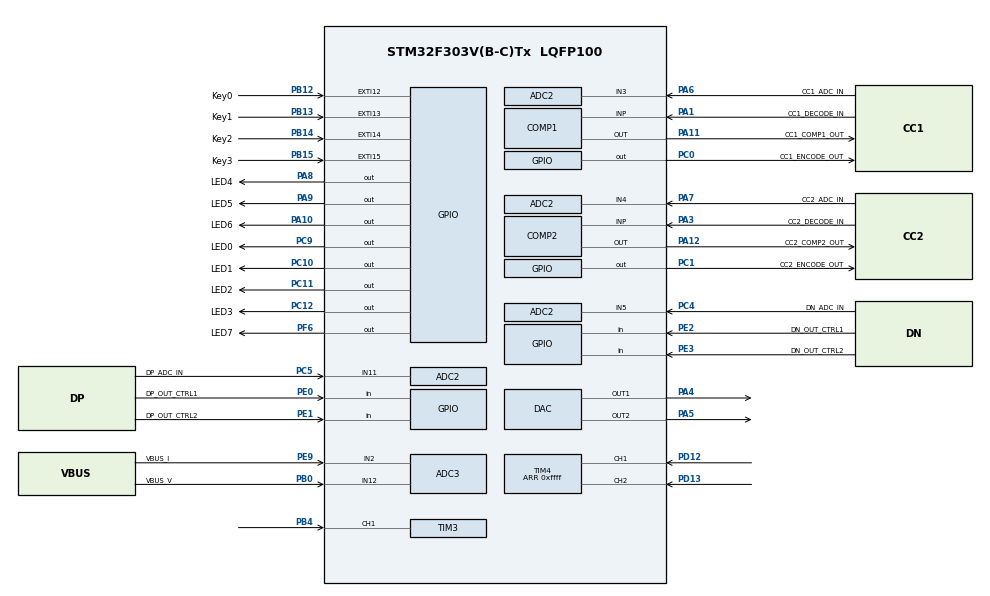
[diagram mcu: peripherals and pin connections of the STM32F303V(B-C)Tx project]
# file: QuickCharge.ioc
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ADC2.Channel-3\#ChannelRegularConversion=ADC_CHANNEL_3
ADC2.ContinuousConvMode=ENABLE
ADC2.DiscontinuousConvMode=DISABLE
ADC2.EnableInjectedConversion=DISABLE
ADC2.EnableRegularConversion=ENABLE
ADC2.NbrOfConversionFlag=1
ADC2.Offset-3\#ChannelRegularConversion=0
ADC2.OffsetNumber-3\#ChannelRegularConversion=ADC_OFFSET_NONE
ADC2.Rank-3\#ChannelRegularConversion=1
ADC2.SamplingTime-3\#ChannelRegularConversion=ADC_SAMPLETIME_1CYCLE_5
ADC2.SamplingTimeOPAMP-3\#ChannelRegularConversion=ADC_SAMPLETIME_61CYCLES_5
ADC3.Channel-0\#ChannelRegularConversion=ADC_CHANNEL_2
ADC3.ContinuousConvMode=ENABLE
ADC3.EnableInjectedConversion=DISABLE
ADC3.NbrOfConversion=1
ADC3.NbrOfConversionFlag=1
ADC3.Offset-0\#ChannelRegularConversion=0
ADC3.OffsetNumber-0\#ChannelRegularConversion=ADC_OFFSET_NONE
ADC3.Rank-0\#ChannelRegularConversion=1
ADC3.SamplingTime-0\#ChannelRegularConversion=ADC_SAMPLETIME_1CYCLE_5
ADC3.master=1
COMP1.InvertingInput=COMP_INVERTINGINPUT_DAC1_CH1
COMP1.Output=COMP_OUTPUT_TIM3IC1
COMP2.InvertingInput=COMP_INVERTINGINPUT_DAC1_CH1
CRC.DefaultInitValueUse=DEFAULT_INIT_VALUE_DISABLE
CRC.DefaultPolynomialUse=DEFAULT_POLYNOMIAL_DISABLE
CRC.InitValue=0xFFFFFFFF
CRC.InputDataInversionMode=CRC_INPUTDATA_INVERSION_BYTE
CRC.OutputDataInversionMode=CRC_OUTPUTDATA_INVERSION_ENABLE
Mcu.Family=STM32F3
Mcu.Name=STM32F303V(B-C)Tx
Mcu.Package=LQFP100
NVIC.PriorityGroup=NVIC_PRIORITYGROUP_0
NVIC.TIM3_IRQn=true\:0\:0\:false\:false\:true\:true\:true
NVIC.TIM4_IRQn=true\:0\:0\:false\:false\:true\:true\:true
PA1.GPIO_Label=CC1_DECODE_IN
PA1.Mode=INP
PA1.Signal=COMP1_INP
PA10.GPIO_Label=LED6
PA10.Signal=GPIO_Output
PA11.GPIO_Label=CC1_COMP1_OUT
PA11.Mode=ExternalOutput
PA11.Signal=COMP1_OUT
PA12.GPIO_Label=CC2_COMP2_OUT
PA12.Mode=ExternalOutput
PA12.Signal=COMP2_OUT
PA13.GPIO_Label=SWDIO
PA13.Mode=Trace_Asynchronous_SW
PA13.Signal=SYS_JTMS-SWDIO
PA14.GPIO_Label=SWCLK
PA14.Mode=Trace_Asynchronous_SW
PA14.Signal=SYS_JTCK-SWCLK
PA3.GPIO_Label=CC2_DECODE_IN
PA3.Mode=INP
PA3.Signal=COMP2_INP
PA4.Signal=COMP_DAC1_group
PA5.Signal=COMP_DAC2_group
PA6.GPIO_Label=CC1_ADC_IN
PA6.Mode=IN3-Single-Ended
PA6.Signal=ADC2_IN3
PA7.GPIO_Label=CC2_ADC_IN
PA7.Mode=IN4-Single-Ended
PA7.Signal=ADC2_IN4
PA8.GPIO_Label=LED4
PA8.Signal=GPIO_Output
PA9.GPIO_Label=LED5
PA9.Signal=GPIO_Output
PB0.GPIO_Label=VBUS_V
PB0.Mode=IN12-Single-Ended
PB0.Signal=ADC3_IN12
PB12.GPIO_Label=Key0
PB12.GPIO_ModeDefaultEXTI=GPIO_MODE_IT_FALLING
PB12.Signal=GPXTI12
PB13.GPIO_Label=Key1
PB13.GPIO_ModeDefaultEXTI=GPIO_MODE_IT_FALLING
PB13.Signal=GPXTI13
PB14.GPIO_Label=Key2
PB14.GPIO_ModeDefaultEXTI=GPIO_MODE_IT_FALLING
PB14.Signal=GPXTI14
PB15.GPIO_Label=Key3
PB15.GPIO_ModeDefaultEXTI=GPIO_MODE_IT_FALLING
PB15.Signal=GPXTI15
PB3.GPIO_Label=SWO
PB3.Mode=Trace_Asynchronous_SW
PB3.Signal=SYS_JTDO-TRACESWO
PB4.GPIO_PuPd=GPIO_NOPULL
PB4.Signal=S_TIM3_CH1
PC0.GPIO_Label=CC1_ENCODE_OUT
PC0.Signal=GPIO_Output
PC1.GPIO_Label=CC2_ENCODE_OUT
PC1.Signal=GPIO_Output
PC10.GPIO_Label=LED1
PC10.Signal=GPIO_Output
PC11.GPIO_Label=LED2
PC11.Signal=GPIO_Output
PC12.GPIO_Label=LED3
PC12.Signal=GPIO_Output
PC4.GPIO_Label=DN_ADC_IN
PC4.Mode=IN5-Single-Ended
PC4.Signal=ADC2_IN5
PC5.GPIO_Label=DP_ADC_IN
PC5.Mode=IN11-Single-Ended
PC5.Signal=ADC2_IN11
PC9.GPIO_Label=LED0
PC9.Signal=GPIO_Output
PD12.Signal=S_TIM4_CH1
PD13.Signal=S_TIM4_CH2
PE0.GPIO_Label=DP_OUT_CTRL1
PE0.Signal=GPIO_Input
PE1.GPIO_Label=DP_OUT_CTRL2
PE1.Signal=GPIO_Input
PE2.GPIO_Label=DN_OUT_CTRL1
PE2.Signal=GPIO_Input
PE3.GPIO_Label=DN_OUT_CTRL2
PE3.Signal=GPIO_Input
PE9.GPIO_Label=VBUS_I
PE9.Mode=IN2-Single-Ended
PE9.Signal=ADC3_IN2
PF0-OSC_IN.Mode=HSE-External-Oscillator
PF0-OSC_IN.Signal=RCC_OSC_IN
PF1-OSC_OUT.Mode=HSE-External-Oscillator
PF1-OSC_OUT.Signal=RCC_OSC_OUT
PF6.GPIO_Label=LED7
PF6.Signal=GPIO_Output
ProjectManager.HeapSize=0x200
ProjectManager.StackSize=0x400
ProjectManager.TargetToolchain=MDK-ARM V5
RCC.AHBFreq_Value=72000000
RCC.APB1CLKDivider=RCC_HCLK_DIV2
RCC.APB1Freq_Value=36000000
RCC.APB1TimFreq_Value=72000000
RCC.APB2Freq_Value=72000000
RCC.APB2TimFreq_Value=72000000
RCC.CortexFreq_Value=72000000
RCC.HCLKFreq_Value=72000000
RCC.HSE_VALUE=8000000
RCC.HSI_VALUE=8000000
RCC.LSE_VALUE=32768
RCC.PLLMUL=RCC_PLL_MUL9
RCC.PLLSourceVirtual=RCC_PLLSOURCE_HSE
RCC.SYSCLKFreq_VALUE=72000000
RCC.SYSCLKSourceVirtual=RCC_SYSCLKSOURCE_PLLCLK
RCC.USBFreq_Value=72000000
SH.COMP_DAC1_group.0=DAC_OUT1,DAC_OUT1
SH.COMP_DAC2_group.0=DAC_OUT2,Enable_DAC_OUT2
SH.S_TIM3_CH1.0=TIM3_CH1,Input_Capture1_from_TI1
SH.S_TIM4_CH1.0=TIM4_CH1,Input_Capture1_from_TI1
SH.S_TIM4_CH2.0=TIM4_CH2,Input_Capture2_from_TI2
TIM3.AutoReloadPreload=TIM_AUTORELOAD_PRELOAD_ENABLE
TIM3.Channel-Input_Capture1_from_TI1=TIM_CHANNEL_1
TIM3.Period=0xffff
TIM4.AutoReloadPreload=TIM_AUTORELOAD_PRELOAD_ENABLE
TIM4.Channel-Input_Capture1_from_TI1=TIM_CHANNEL_1
TIM4.Channel-Input_Capture2_from_TI2=TIM_CHANNEL_2
TIM4.Period=0xffff
VP_COMP1_VS_DAC1OUT1.Mode=INM_DACOUT1
VP_COMP2_VS_DAC1OUT1.Mode=INM_DACOUT1
VP_CRC_VS_CRC.Mode=CRC_Activate
VP_TIM3_VS_ClockSourceINT.Mode=Internal
VP_TIM4_VS_ClockSourceINT.Mode=Internal
board=STM32F3DISCOVERY

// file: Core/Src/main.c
/* USER CODE BEGIN Header */
/**
  ******************************************************************************
  * @file           : main.c
  * @brief          : Main program body
  ******************************************************************************
  * @attention
  *
  * Copyright (c) 2022 STMicroelectronics.
  * All rights reserved.
  *
  * This software is licensed under terms that can be found in the LICENSE file
  * in the root directory of this software component.
  * If no LICENSE file comes with this software, it is provided AS-IS.
  *
  ******************************************************************************
  */
/* USER CODE END Header */
#include "main.h"

/* USER CODE BEGIN Includes */
#include "usbpd_sm_setting.h"

/* USER CODE END Includes */

TIM_HandleTypeDef htim4;

void SystemClock_Config(void);
static void MX_GPIO_Init(void);
static void MX_COMP1_Init(void);
static void MX_DAC_Init(void);
static void MX_ADC2_Init(void);
static void MX_ADC3_Init(void);
static void MX_COMP2_Init(void);
static void MX_TIM3_Init(void);
static void MX_CRC_Init(void);
static void MX_TIM4_Init(void);

/* USER CODE BEGIN 0 */
#define ITM_Port8(n)    (*((volatile unsigned char *)(0xE0000000+4*n)))
#define ITM_Port16(n)   (*((volatile unsigned short*)(0xE0000000+4*n)))
#define ITM_Port32(n)   (*((volatile unsigned long *)(0xE0000000+4*n)))

#define DEMCR           (*((volatile unsigned long *)(0xE000EDFC)))
#define TRCENA          0x01000000

struct __FILE { int handle; /* Add whatever needed */ };
FILE __stdout;
FILE __stdin;

int fputc(int ch, FILE *f) {
  if (DEMCR & TRCENA) {
    while (ITM_Port32(0) == 0);
    ITM_Port8(0) = ch;
  }
  return(ch);
}

/* global parameteres */
bool  gNewMsgFlag;
uint8_t  gBit[500];
uint32_t gBitNum;
uint8_t  gData5b[5];

USBPD_PHY_Msg_TypeDef gPhyRcvMsg;
USBPD_PHY_Msg_TypeDef gPhyTransMsg;
USBPD_Msg_TypeDef gPrlRcvMsg;
USBPD_Msg_TypeDef gPrlTransMsg;
uint32_t gSRCFixedPDONum;
USBPD_PDO_TypeDef gSRCFixedPDOList[7];
USBPD_PDO_TypeDef gSNKFixedPDOList[SNK_FIXED_PDO_NUM] = {0x19096, 0x1003C096};
USBPD_SNKRDO_TypeDef gRdo;
uint8_t  gTransMsgID;
uint8_t  gRcvMsgID;
uint8_t  gHardRstCnt;
uint8_t  gSoftRstCnt;
bool     gExplicitFlag;
bool     gWaitFlag;
bool     gNewReqFlag;
bool     gPDEn;
bool     gQcAdapter;

uint32_t voltage, allowablepower;
uint32_t srcFixPDOValue[7] = {0x0A01912C, 0x0002D12C, 0x0003C12C, 0x0004B12C, 0x00064145};
uint32_t sinkFixRDOValue[7] = {0x1305B12C};
USBPD_SRCFixedSupplyPDO_TypeDef srcFixPDO[7];
uint32_t gVbus;
USBPD_RcvMsgType_TypeDef gRcvMsgType;

StateId gPreviousState;
StateId gCurrentState;
static bool GetEvent(StateId currentState, EventInfo* pEventInfo);

static bool GetEvent(StateId currentState, EventInfo* pEventInfo)
{
	bool ret = false;

	if((*(SM_Table[currentState].hStateAction))(pEventInfo))
	{
	 	ret = true;
	}
	return ret;
}

uint32_t adctest;
/* USER CODE END 0 */

int main(void)
{
  /* USER CODE BEGIN 1 */
	EventInfo eventInfo;
	StateId nextState;
	StateTransit*	pStateTransit;
	uint8_t i;

	gPDEn = true;
  /* USER CODE END 1 */

  /* MCU Configuration--------------------------------------------------------*/

  /* Reset of all peripherals, Initializes the Flash interface and the Systick. */
  HAL_Init();

  /* Configure the system clock */
  SystemClock_Config();

  /* Initialize all configured peripherals */
  MX_GPIO_Init();
  MX_COMP1_Init();
  MX_DAC_Init();
  MX_ADC2_Init();
  MX_ADC3_Init();
  MX_COMP2_Init();
  MX_TIM3_Init();
  MX_CRC_Init();
  MX_TIM4_Init();
  /* USER CODE BEGIN 2 */
	LL_GPIO_SetOutputPin(LED0_GPIO_Port, LED0_Pin);
	LL_GPIO_SetOutputPin(CC1_ENCODE_OUT_GPIO_Port, CC1_ENCODE_OUT_Pin);

//	HAL_DAC_SetValue(&hdac, DAC_CHANNEL_1, DAC_ALIGN_12B_R, 1024);
//	HAL_DAC_Start(&hdac, DAC_CHANNEL_1);
//	HAL_COMP_Start(&hcomp1);
	HAL_Delay(1);
//	__HAL_TIM_SET_CAPTUREPOLARITY(&htim4, TIM_CHANNEL_1, TIM_INPUTCHANNELPOLARITY_BOTHEDGE);
//	HAL_TIM_IC_Start(&htim4, TIM_CHANNEL_1);

/*********************TEST BEGIN***********************************************/
//	gPrlRcvMsg.SOPType                              = USBPD_SOPTYPE_SOP;
//	gPrlRcvMsg.MsgHeader.MsgHeaderStruct.MsgType    = USBPD_DATAMSG_SRC_CAPABILITIES;
//	gPrlRcvMsg.MsgHeader.MsgHeaderStruct.SpecRev    = USBPD_SPECIFICATION_REV2;
//	gPrlRcvMsg.MsgHeader.MsgHeaderStruct.MsgId      = 1;
//	gPrlRcvMsg.MsgHeader.MsgHeaderStruct.DataObjNum = 5;
//  gPrlRcvMsg.MsgHeader.MsgHeaderStruct.Ext        = 0;
//	gPrlRcvMsg.DataObjectValue[0]   = 0x0A01912C;
//  gPrlRcvMsg.DataObjectValue[1]   = 0x0002D12C;
//	gPrlRcvMsg.DataObjectValue[2]   = 0x0003C12C;
//  gPrlRcvMsg.DataObjectValue[3]   = 0x0004B12C;
//	gPrlRcvMsg.DataObjectValue[4]   = 0x00064145;
//	gSRCFixedPDONum = USBPD_GetSRCFixedPDOList(&gPrlRcvMsg);
//
//	pdoIndex = DPM_FindVoltageIndex(&reqDetails);
//  DPM_SNK_BuildRDOfromSelectedFixedPDO(pdoIndex, &reqDetails, &gRdo);
//
//	USBPD_Send_HardReset();
//	USBPD_Send_ControlMessage(USBPD_CONTROLMSG_GOODCRC);
//  USBPD_Send_ControlMessage(USBPD_CONTROLMSG_SOFT_RESET);
//	USBPD_Send_ControlMessage(USBPD_CONTROLMSG_GET_SRC_CAP);
//	USBPD_Send_Request(gRdo.d32);

  adctest = GetAverageValue(AVERAGE_NUM, Measurement_DN_Voltage);
/*********************TEST END***********************************************/
  /* USER CODE END 2 */

  /* Infinite loop */
  /* USER CODE BEGIN WHILE */

/********************* QC ***********************************************/
	ResetQuickChargeFlag();
	QuickChargeDetection();

  gPreviousState = StateStartup;
	gCurrentState = StateStartup;
	(*SM_Table[gCurrentState].hStateEntry)(eventInfo.eventId, eventInfo.param1);
//	USBPD_Send_HardReset();
	while (1)
  {
		if (gPDEn)
		{
			if(GetEvent(gCurrentState, &eventInfo))
			{
				if((gCurrentState < StateCount)&&(eventInfo.eventId < EventCount))
				{
					pStateTransit = SM_Table[gCurrentState].pStateTransit; //Get current state's transaction table 'StateTrans'
					i = 0;
					while(pStateTransit[i].eventId != EvtNull)
					{
						if(pStateTransit[i].eventId == eventInfo.eventId)//search for the state transition for the current event
						{
							nextState = pStateTransit[i].nextState;

//							if(nextState != gCurrentState) //if the state changes, call exit function of current state, and entry function of next state
							{
								(*SM_Table[gCurrentState].hStateExit)();
								(*SM_Table[nextState].hStateEntry)(eventInfo.eventId, eventInfo.param1);
								gPreviousState = gCurrentState;
								gCurrentState = nextState;
							}
							break;
						}
						i++;
					}
				}
			}
		}
	}

//  uint32_t msgType;
//	uint32_t pdoIndex;
//	USBPD_DPM_SNKPowerRequestDetails_TypeDef reqDetails;

//  while (1)
//  {
    /* USER CODE END WHILE */

    /* USER CODE BEGIN 3 */
//		if(gNewMsgFlag)
//		{
//			HAL_GPIO_WritePin(TEST_LED1_GPIO_Port, TEST_LED1_Pin, GPIO_PIN_SET);
//			if (USBPD_OK == USBPD_PHY_DecodeMessage(&gPhyRcvMsg))
//			{
//				//1. �� MSG ������Э���
//				USBPD_GetMessage(&gPhyRcvMsg, &gPrlRcvMsg);
//				//2. ���� MSG ���ͻظ���ͬ������
//        msgType = USBPD_GetReceivedMsgType(&gPrlRcvMsg);
////        if ((msgType != USBPD_MSG_GOODCRC))
////				{
////			  	USBPD_Send_ControlMessage(USBPD_CONTROLMSG_GOODCRC);
////				}
//        switch (msgType)
//				{
//					case USBPD_MSG_HARD_RST:
//						break;
//					case USBPD_MSG_SOFT_RST:
//						break;
//          case USBPD_MSG_GET_SINK_CAP:
//						break;
//          case USBPD_MSG_ACCEPT:
//						break;
//          case USBPD_MSG_PS_READY:
//						break;
//          case USBPD_MSG_SRC_CAP:
//						pdoIndex = DPM_FindVoltageIndex(&reqDetails);
//						DPM_SNK_BuildRDOfromSelectedFixedPDO(pdoIndex, &reqDetails, &gRdo);
//						USBPD_Send_Request(gRdo.d32);
//					  break;
//					default:
//						break;
//				}
//			}
//			gNewMsgFlag = false;
//			HAL_GPIO_WritePin(TEST_LED1_GPIO_Port, TEST_LED1_Pin, GPIO_PIN_RESET);
//			__HAL_TIM_CLEAR_IT(&htim3, TIM_IT_CC1);
//	    TIM3->DIER |= TIM_IT_CC1;
//		}
//	}
  /* USER CODE END 3 */
}

void SystemClock_Config(void)
{
  LL_FLASH_SetLatency(LL_FLASH_LATENCY_2);
  while(LL_FLASH_GetLatency()!= LL_FLASH_LATENCY_2)
  {
  }
  LL_RCC_HSE_Enable();

   /* Wait till HSE is ready */
  while(LL_RCC_HSE_IsReady() != 1)
  {

  }
  LL_RCC_PLL_ConfigDomain_SYS(LL_RCC_PLLSOURCE_HSE_DIV_1, LL_RCC_PLL_MUL_9);
  LL_RCC_PLL_Enable();

   /* Wait till PLL is ready */
  while(LL_RCC_PLL_IsReady() != 1)
  {

  }
  LL_RCC_SetAHBPrescaler(LL_RCC_SYSCLK_DIV_1);
  LL_RCC_SetAPB1Prescaler(LL_RCC_APB1_DIV_2);
  LL_RCC_SetAPB2Prescaler(LL_RCC_APB2_DIV_1);
  LL_RCC_SetSysClkSource(LL_RCC_SYS_CLKSOURCE_PLL);

   /* Wait till System clock is ready */
  while(LL_RCC_GetSysClkSource() != LL_RCC_SYS_CLKSOURCE_STATUS_PLL)
  {

  }
  LL_SetSystemCoreClock(72000000);

   /* Update the time base */
  if (HAL_InitTick (TICK_INT_PRIORITY) != HAL_OK)
  {
    Error_Handler();
  }
  LL_RCC_SetADCClockSource(LL_RCC_ADC12_CLKSRC_PLL_DIV_1);
  LL_RCC_SetADCClockSource(LL_RCC_ADC34_CLKSRC_PLL_DIV_1);
}

static void MX_ADC2_Init(void)
{

  LL_ADC_InitTypeDef ADC_InitStruct = {0};

  LL_ADC_REG_InitTypeDef ADC_REG_InitStruct = {0};

  LL_GPIO_InitTypeDef GPIO_InitStruct = {0};

  /* Peripheral clock enable */
  LL_AHB1_GRP1_EnableClock(LL_AHB1_GRP1_PERIPH_ADC12);

  LL_AHB1_GRP1_EnableClock(LL_AHB1_GRP1_PERIPH_GPIOA);
  LL_AHB1_GRP1_EnableClock(LL_AHB1_GRP1_PERIPH_GPIOC);
  /**ADC2 GPIO Configuration
  PA6   ------> ADC2_IN3
  PA7   ------> ADC2_IN4
  PC4   ------> ADC2_IN5
  PC5   ------> ADC2_IN11
  */
  GPIO_InitStruct.Pin = CC1_ADC_IN_Pin|CC2_ADC_IN_Pin;
  GPIO_InitStruct.Mode = LL_GPIO_MODE_ANALOG;
  GPIO_InitStruct.Pull = LL_GPIO_PULL_NO;
  LL_GPIO_Init(GPIOA, &GPIO_InitStruct);

  GPIO_InitStruct.Pin = DN_ADC_IN_Pin|DP_ADC_IN_Pin;
  GPIO_InitStruct.Mode = LL_GPIO_MODE_ANALOG;
  GPIO_InitStruct.Pull = LL_GPIO_PULL_NO;
  LL_GPIO_Init(GPIOC, &GPIO_InitStruct);

  /** Common config
  */
  ADC_InitStruct.Resolution = LL_ADC_RESOLUTION_12B;
  ADC_InitStruct.DataAlignment = LL_ADC_DATA_ALIGN_RIGHT;
  ADC_InitStruct.LowPowerMode = LL_ADC_LP_MODE_NONE;
  LL_ADC_Init(ADC2, &ADC_InitStruct);
  ADC_REG_InitStruct.TriggerSource = LL_ADC_REG_TRIG_SOFTWARE;
  ADC_REG_InitStruct.SequencerLength = LL_ADC_REG_SEQ_SCAN_DISABLE;
  ADC_REG_InitStruct.SequencerDiscont = LL_ADC_REG_SEQ_DISCONT_DISABLE;
  ADC_REG_InitStruct.ContinuousMode = LL_ADC_REG_CONV_CONTINUOUS;
  ADC_REG_InitStruct.DMATransfer = LL_ADC_REG_DMA_TRANSFER_LIMITED;
  ADC_REG_InitStruct.Overrun = LL_ADC_REG_OVR_DATA_OVERWRITTEN;
  LL_ADC_REG_Init(ADC2, &ADC_REG_InitStruct);
  LL_ADC_SetCommonClock(__LL_ADC_COMMON_INSTANCE(ADC2), LL_ADC_CLOCK_ASYNC_DIV1);

  /* Enable ADC internal voltage regulator */
  LL_ADC_EnableInternalRegulator(ADC2);
  /* Delay for ADC internal voltage regulator stabilization. */
  /* Compute number of CPU cycles to wait for, from delay in us. */
  /* Note: Variable divided by 2 to compensate partially */
  /* CPU processing cycles (depends on compilation optimization). */
  /* Note: If system core clock frequency is below 200kHz, wait time */
  /* is only a few CPU processing cycles. */
  uint32_t wait_loop_index;
  wait_loop_index = ((LL_ADC_DELAY_INTERNAL_REGUL_STAB_US * (SystemCoreClock / (100000 * 2))) / 10);
  while(wait_loop_index != 0)
  {
    wait_loop_index--;
  }
  /** Configure Regular Channel
  */
  LL_ADC_REG_SetSequencerRanks(ADC2, LL_ADC_REG_RANK_1, LL_ADC_CHANNEL_3);
  LL_ADC_SetChannelSamplingTime(ADC2, LL_ADC_CHANNEL_3, LL_ADC_SAMPLINGTIME_1CYCLE_5);
  LL_ADC_SetChannelSingleDiff(ADC2, LL_ADC_CHANNEL_3, LL_ADC_SINGLE_ENDED);

}

static void MX_ADC3_Init(void)
{

  LL_ADC_InitTypeDef ADC_InitStruct = {0};
  LL_ADC_REG_InitTypeDef ADC_REG_InitStruct = {0};
  LL_ADC_CommonInitTypeDef ADC_CommonInitStruct = {0};

  LL_GPIO_InitTypeDef GPIO_InitStruct = {0};

  /* Peripheral clock enable */
  LL_AHB1_GRP1_EnableClock(LL_AHB1_GRP1_PERIPH_ADC34);

  LL_AHB1_GRP1_EnableClock(LL_AHB1_GRP1_PERIPH_GPIOB);
  LL_AHB1_GRP1_EnableClock(LL_AHB1_GRP1_PERIPH_GPIOE);
  /**ADC3 GPIO Configuration
  PB0   ------> ADC3_IN12
  PE9   ------> ADC3_IN2
  */
  GPIO_InitStruct.Pin = VBUS_V_Pin;
  GPIO_InitStruct.Mode = LL_GPIO_MODE_ANALOG;
  GPIO_InitStruct.Pull = LL_GPIO_PULL_NO;
  LL_GPIO_Init(VBUS_V_GPIO_Port, &GPIO_InitStruct);

  GPIO_InitStruct.Pin = VBUS_I_Pin;
  GPIO_InitStruct.Mode = LL_GPIO_MODE_ANALOG;
  GPIO_InitStruct.Pull = LL_GPIO_PULL_NO;
  LL_GPIO_Init(VBUS_I_GPIO_Port, &GPIO_InitStruct);

  /** Common config
  */
  ADC_InitStruct.Resolution = LL_ADC_RESOLUTION_12B;
  ADC_InitStruct.DataAlignment = LL_ADC_DATA_ALIGN_RIGHT;
  ADC_InitStruct.LowPowerMode = LL_ADC_LP_MODE_NONE;
  LL_ADC_Init(ADC3, &ADC_InitStruct);
  ADC_REG_InitStruct.TriggerSource = LL_ADC_REG_TRIG_SOFTWARE;
  ADC_REG_InitStruct.SequencerLength = LL_ADC_REG_SEQ_SCAN_DISABLE;
  ADC_REG_InitStruct.SequencerDiscont = LL_ADC_REG_SEQ_DISCONT_DISABLE;
  ADC_REG_InitStruct.ContinuousMode = LL_ADC_REG_CONV_CONTINUOUS;
  ADC_REG_InitStruct.DMATransfer = LL_ADC_REG_DMA_TRANSFER_LIMITED;
  ADC_REG_InitStruct.Overrun = LL_ADC_REG_OVR_DATA_OVERWRITTEN;
  LL_ADC_REG_Init(ADC3, &ADC_REG_InitStruct);
  ADC_CommonInitStruct.CommonClock = LL_ADC_CLOCK_ASYNC_DIV1;
  ADC_CommonInitStruct.Multimode = LL_ADC_MULTI_INDEPENDENT;
  LL_ADC_CommonInit(__LL_ADC_COMMON_INSTANCE(ADC3), &ADC_CommonInitStruct);

  /* Enable ADC internal voltage regulator */
  LL_ADC_EnableInternalRegulator(ADC3);
  /* Delay for ADC internal voltage regulator stabilization. */
  /* Compute number of CPU cycles to wait for, from delay in us. */
  /* Note: Variable divided by 2 to compensate partially */
  /* CPU processing cycles (depends on compilation optimization). */
  /* Note: If system core clock frequency is below 200kHz, wait time */
  /* is only a few CPU processing cycles. */
  uint32_t wait_loop_index;
  wait_loop_index = ((LL_ADC_DELAY_INTERNAL_REGUL_STAB_US * (SystemCoreClock / (100000 * 2))) / 10);
  while(wait_loop_index != 0)
  {
    wait_loop_index--;
  }
  /** Configure Regular Channel
  */
  LL_ADC_REG_SetSequencerRanks(ADC3, LL_ADC_REG_RANK_1, LL_ADC_CHANNEL_2);
  LL_ADC_SetChannelSamplingTime(ADC3, LL_ADC_CHANNEL_2, LL_ADC_SAMPLINGTIME_1CYCLE_5);
  LL_ADC_SetChannelSingleDiff(ADC3, LL_ADC_CHANNEL_2, LL_ADC_SINGLE_ENDED);

}

static void MX_COMP1_Init(void)
{

  LL_COMP_InitTypeDef COMP_InitStruct = {0};

  LL_GPIO_InitTypeDef GPIO_InitStruct = {0};

  LL_AHB1_GRP1_EnableClock(LL_AHB1_GRP1_PERIPH_GPIOA);
  /**COMP1 GPIO Configuration
  PA1   ------> COMP1_INP
  PA11   ------> COMP1_OUT
  */
  GPIO_InitStruct.Pin = CC1_DECODE_IN_Pin;
  GPIO_InitStruct.Mode = LL_GPIO_MODE_ANALOG;
  GPIO_InitStruct.Pull = LL_GPIO_PULL_NO;
  LL_GPIO_Init(CC1_DECODE_IN_GPIO_Port, &GPIO_InitStruct);

  GPIO_InitStruct.Pin = CC1_COMP1_OUT_Pin;
  GPIO_InitStruct.Mode = LL_GPIO_MODE_ALTERNATE;
  GPIO_InitStruct.Speed = LL_GPIO_SPEED_FREQ_LOW;
  GPIO_InitStruct.OutputType = LL_GPIO_OUTPUT_PUSHPULL;
  GPIO_InitStruct.Pull = LL_GPIO_PULL_NO;
  GPIO_InitStruct.Alternate = LL_GPIO_AF_8;
  LL_GPIO_Init(CC1_COMP1_OUT_GPIO_Port, &GPIO_InitStruct);

  COMP_InitStruct.PowerMode = LL_COMP_POWERMODE_HIGHSPEED;
  COMP_InitStruct.InputPlus = LL_COMP_INPUT_PLUS_IO1;
  COMP_InitStruct.InputMinus = LL_COMP_INPUT_MINUS_DAC1_CH1;
  COMP_InitStruct.InputHysteresis = LL_COMP_HYSTERESIS_NONE;
  COMP_InitStruct.OutputSelection = LL_COMP_OUTPUT_TIM3_IC1;
  COMP_InitStruct.OutputPolarity = LL_COMP_OUTPUTPOL_NONINVERTED;
  COMP_InitStruct.OutputBlankingSource = LL_COMP_BLANKINGSRC_NONE;
  LL_COMP_Init(COMP1, &COMP_InitStruct);

}

static void MX_COMP2_Init(void)
{

  LL_COMP_InitTypeDef COMP_InitStruct = {0};

  LL_GPIO_InitTypeDef GPIO_InitStruct = {0};

  LL_AHB1_GRP1_EnableClock(LL_AHB1_GRP1_PERIPH_GPIOA);
  /**COMP2 GPIO Configuration
  PA3   ------> COMP2_INP
  PA12   ------> COMP2_OUT
  */
  GPIO_InitStruct.Pin = CC2_DECODE_IN_Pin;
  GPIO_InitStruct.Mode = LL_GPIO_MODE_ANALOG;
  GPIO_InitStruct.Pull = LL_GPIO_PULL_NO;
  LL_GPIO_Init(CC2_DECODE_IN_GPIO_Port, &GPIO_InitStruct);

  GPIO_InitStruct.Pin = CC2_COMP2_OUT_Pin;
  GPIO_InitStruct.Mode = LL_GPIO_MODE_ALTERNATE;
  GPIO_InitStruct.Speed = LL_GPIO_SPEED_FREQ_LOW;
  GPIO_InitStruct.OutputType = LL_GPIO_OUTPUT_PUSHPULL;
  GPIO_InitStruct.Pull = LL_GPIO_PULL_NO;
  GPIO_InitStruct.Alternate = LL_GPIO_AF_8;
  LL_GPIO_Init(CC2_COMP2_OUT_GPIO_Port, &GPIO_InitStruct);

  COMP_InitStruct.PowerMode = LL_COMP_POWERMODE_HIGHSPEED;
  COMP_InitStruct.InputPlus = LL_COMP_INPUT_PLUS_IO2;
  COMP_InitStruct.InputMinus = LL_COMP_INPUT_MINUS_DAC1_CH1;
  COMP_InitStruct.InputHysteresis = LL_COMP_HYSTERESIS_NONE;
  COMP_InitStruct.OutputSelection = LL_COMP_OUTPUT_NONE;
  COMP_InitStruct.OutputPolarity = LL_COMP_OUTPUTPOL_NONINVERTED;
  COMP_InitStruct.OutputBlankingSource = LL_COMP_BLANKINGSRC_NONE;
  LL_COMP_Init(COMP2, &COMP_InitStruct);
  LL_COMP_SetCommonWindowMode(__LL_COMP_COMMON_INSTANCE(COMP2), LL_COMP_WINDOWMODE_DISABLE);

}

static void MX_CRC_Init(void)
{

  /* Peripheral clock enable */
  LL_AHB1_GRP1_EnableClock(LL_AHB1_GRP1_PERIPH_CRC);

  LL_CRC_SetInputDataReverseMode(CRC, LL_CRC_INDATA_REVERSE_BYTE);
  LL_CRC_SetOutputDataReverseMode(CRC, LL_CRC_OUTDATA_REVERSE_BIT);
  LL_CRC_SetInitialData(CRC, 0xFFFFFFFF);
  LL_CRC_SetPolynomialCoef(CRC, 79764919);
  LL_CRC_SetPolynomialSize(CRC, LL_CRC_POLYLENGTH_32B);

}

static void MX_DAC_Init(void)
{

  LL_DAC_InitTypeDef DAC_InitStruct = {0};

  LL_GPIO_InitTypeDef GPIO_InitStruct = {0};

  /* Peripheral clock enable */
  LL_APB1_GRP1_EnableClock(LL_APB1_GRP1_PERIPH_DAC1);

  LL_AHB1_GRP1_EnableClock(LL_AHB1_GRP1_PERIPH_GPIOA);
  /**DAC GPIO Configuration
  PA4   ------> DAC_OUT1
  PA5   ------> DAC_OUT2
  */
  GPIO_InitStruct.Pin = LL_GPIO_PIN_4|LL_GPIO_PIN_5;
  GPIO_InitStruct.Mode = LL_GPIO_MODE_ANALOG;
  GPIO_InitStruct.Pull = LL_GPIO_PULL_NO;
  LL_GPIO_Init(GPIOA, &GPIO_InitStruct);

  /** DAC channel OUT1 config
  */
  DAC_InitStruct.TriggerSource = LL_DAC_TRIG_SOFTWARE;
  DAC_InitStruct.WaveAutoGeneration = LL_DAC_WAVE_AUTO_GENERATION_NONE;
  DAC_InitStruct.OutputBuffer = LL_DAC_OUTPUT_BUFFER_ENABLE;
  LL_DAC_Init(DAC, LL_DAC_CHANNEL_1, &DAC_InitStruct);
  LL_DAC_DisableTrigger(DAC, LL_DAC_CHANNEL_1);
  /** DAC channel OUT2 config
  */
  LL_DAC_Init(DAC, LL_DAC_CHANNEL_2, &DAC_InitStruct);
  LL_DAC_DisableTrigger(DAC, LL_DAC_CHANNEL_2);

}

static void MX_TIM3_Init(void)
{

  LL_TIM_InitTypeDef TIM_InitStruct = {0};

  LL_GPIO_InitTypeDef GPIO_InitStruct = {0};

  /* Peripheral clock enable */
  LL_APB1_GRP1_EnableClock(LL_APB1_GRP1_PERIPH_TIM3);

  LL_AHB1_GRP1_EnableClock(LL_AHB1_GRP1_PERIPH_GPIOB);
  /**TIM3 GPIO Configuration
  PB4   ------> TIM3_CH1
  */
  GPIO_InitStruct.Pin = LL_GPIO_PIN_4;
  GPIO_InitStruct.Mode = LL_GPIO_MODE_ALTERNATE;
  GPIO_InitStruct.Speed = LL_GPIO_SPEED_FREQ_LOW;
  GPIO_InitStruct.OutputType = LL_GPIO_OUTPUT_PUSHPULL;
  GPIO_InitStruct.Pull = LL_GPIO_PULL_NO;
  GPIO_InitStruct.Alternate = LL_GPIO_AF_2;
  LL_GPIO_Init(GPIOB, &GPIO_InitStruct);

  /* TIM3 interrupt Init */
  NVIC_SetPriority(TIM3_IRQn, NVIC_EncodePriority(NVIC_GetPriorityGrouping(),0, 0));
  NVIC_EnableIRQ(TIM3_IRQn);

  TIM_InitStruct.Prescaler = 0;
  TIM_InitStruct.CounterMode = LL_TIM_COUNTERMODE_UP;
  TIM_InitStruct.Autoreload = 0xffff;
  TIM_InitStruct.ClockDivision = LL_TIM_CLOCKDIVISION_DIV1;
  LL_TIM_Init(TIM3, &TIM_InitStruct);
  LL_TIM_EnableARRPreload(TIM3);
  LL_TIM_SetClockSource(TIM3, LL_TIM_CLOCKSOURCE_INTERNAL);
  LL_TIM_SetTriggerOutput(TIM3, LL_TIM_TRGO_RESET);
  LL_TIM_DisableMasterSlaveMode(TIM3);
  LL_TIM_IC_SetActiveInput(TIM3, LL_TIM_CHANNEL_CH1, LL_TIM_ACTIVEINPUT_DIRECTTI);
  LL_TIM_IC_SetPrescaler(TIM3, LL_TIM_CHANNEL_CH1, LL_TIM_ICPSC_DIV1);
  LL_TIM_IC_SetFilter(TIM3, LL_TIM_CHANNEL_CH1, LL_TIM_IC_FILTER_FDIV1);
  LL_TIM_IC_SetPolarity(TIM3, LL_TIM_CHANNEL_CH1, LL_TIM_IC_POLARITY_RISING);

}

static void MX_TIM4_Init(void)
{

  TIM_ClockConfigTypeDef sClockSourceConfig = {0};
  TIM_MasterConfigTypeDef sMasterConfig = {0};
  TIM_IC_InitTypeDef sConfigIC = {0};

  htim4.Instance = TIM4;
  htim4.Init.Prescaler = 0;
  htim4.Init.CounterMode = TIM_COUNTERMODE_UP;
  htim4.Init.Period = 0xffff;
  htim4.Init.ClockDivision = TIM_CLOCKDIVISION_DIV1;
  htim4.Init.AutoReloadPreload = TIM_AUTORELOAD_PRELOAD_ENABLE;
  if (HAL_TIM_Base_Init(&htim4) != HAL_OK)
  {
    Error_Handler();
  }
  sClockSourceConfig.ClockSource = TIM_CLOCKSOURCE_INTERNAL;
  if (HAL_TIM_ConfigClockSource(&htim4, &sClockSourceConfig) != HAL_OK)
  {
    Error_Handler();
  }
  if (HAL_TIM_IC_Init(&htim4) != HAL_OK)
  {
    Error_Handler();
  }
  sMasterConfig.MasterOutputTrigger = TIM_TRGO_RESET;
  sMasterConfig.MasterSlaveMode = TIM_MASTERSLAVEMODE_DISABLE;
  if (HAL_TIMEx_MasterConfigSynchronization(&htim4, &sMasterConfig) != HAL_OK)
  {
    Error_Handler();
  }
  sConfigIC.ICPolarity = TIM_INPUTCHANNELPOLARITY_RISING;
  sConfigIC.ICSelection = TIM_ICSELECTION_DIRECTTI;
  sConfigIC.ICPrescaler = TIM_ICPSC_DIV1;
  sConfigIC.ICFilter = 0;
  if (HAL_TIM_IC_ConfigChannel(&htim4, &sConfigIC, TIM_CHANNEL_1) != HAL_OK)
  {
    Error_Handler();
  }
  if (HAL_TIM_IC_ConfigChannel(&htim4, &sConfigIC, TIM_CHANNEL_2) != HAL_OK)
  {
    Error_Handler();
  }

}

static void MX_GPIO_Init(void)
{
  LL_EXTI_InitTypeDef EXTI_InitStruct = {0};
  LL_GPIO_InitTypeDef GPIO_InitStruct = {0};

  /* GPIO Ports Clock Enable */
  LL_AHB1_GRP1_EnableClock(LL_AHB1_GRP1_PERIPH_GPIOE);
  LL_AHB1_GRP1_EnableClock(LL_AHB1_GRP1_PERIPH_GPIOF);
  LL_AHB1_GRP1_EnableClock(LL_AHB1_GRP1_PERIPH_GPIOC);
  LL_AHB1_GRP1_EnableClock(LL_AHB1_GRP1_PERIPH_GPIOA);
  LL_AHB1_GRP1_EnableClock(LL_AHB1_GRP1_PERIPH_GPIOB);
  LL_AHB1_GRP1_EnableClock(LL_AHB1_GRP1_PERIPH_GPIOD);

  /**/
  LL_GPIO_ResetOutputPin(GPIOC, CC1_ENCODE_OUT_Pin|CC2_ENCODE_OUT_Pin|LED0_Pin|LED1_Pin
                          |LED2_Pin|LED3_Pin);

  /**/
  LL_GPIO_ResetOutputPin(GPIOA, LED4_Pin|LED5_Pin|LED6_Pin);

  /**/
  LL_GPIO_ResetOutputPin(LED7_GPIO_Port, LED7_Pin);

  /**/
  GPIO_InitStruct.Pin = DN_OUT_CTRL1_Pin|DN_OUT_CTRL2_Pin|DP_OUT_CTRL1_Pin|DP_OUT_CTRL2_Pin;
  GPIO_InitStruct.Mode = LL_GPIO_MODE_INPUT;
  GPIO_InitStruct.Pull = LL_GPIO_PULL_NO;
  LL_GPIO_Init(GPIOE, &GPIO_InitStruct);

  /**/
  GPIO_InitStruct.Pin = CC1_ENCODE_OUT_Pin|CC2_ENCODE_OUT_Pin|LED0_Pin|LED1_Pin
                          |LED2_Pin|LED3_Pin;
  GPIO_InitStruct.Mode = LL_GPIO_MODE_OUTPUT;
  GPIO_InitStruct.Speed = LL_GPIO_SPEED_FREQ_LOW;
  GPIO_InitStruct.OutputType = LL_GPIO_OUTPUT_PUSHPULL;
  GPIO_InitStruct.Pull = LL_GPIO_PULL_NO;
  LL_GPIO_Init(GPIOC, &GPIO_InitStruct);

  /**/
  GPIO_InitStruct.Pin = LED4_Pin|LED5_Pin|LED6_Pin;
  GPIO_InitStruct.Mode = LL_GPIO_MODE_OUTPUT;
  GPIO_InitStruct.Speed = LL_GPIO_SPEED_FREQ_LOW;
  GPIO_InitStruct.OutputType = LL_GPIO_OUTPUT_PUSHPULL;
  GPIO_InitStruct.Pull = LL_GPIO_PULL_NO;
  LL_GPIO_Init(GPIOA, &GPIO_InitStruct);

  /**/
  GPIO_InitStruct.Pin = LED7_Pin;
  GPIO_InitStruct.Mode = LL_GPIO_MODE_OUTPUT;
  GPIO_InitStruct.Speed = LL_GPIO_SPEED_FREQ_LOW;
  GPIO_InitStruct.OutputType = LL_GPIO_OUTPUT_PUSHPULL;
  GPIO_InitStruct.Pull = LL_GPIO_PULL_NO;
  LL_GPIO_Init(LED7_GPIO_Port, &GPIO_InitStruct);

  /**/
  LL_SYSCFG_SetEXTISource(LL_SYSCFG_EXTI_PORTB, LL_SYSCFG_EXTI_LINE12);

  /**/
  LL_SYSCFG_SetEXTISource(LL_SYSCFG_EXTI_PORTB, LL_SYSCFG_EXTI_LINE13);

  /**/
  LL_SYSCFG_SetEXTISource(LL_SYSCFG_EXTI_PORTB, LL_SYSCFG_EXTI_LINE14);

  /**/
  LL_SYSCFG_SetEXTISource(LL_SYSCFG_EXTI_PORTB, LL_SYSCFG_EXTI_LINE15);

  /**/
  LL_GPIO_SetPinPull(Key0_GPIO_Port, Key0_Pin, LL_GPIO_PULL_NO);

  /**/
  LL_GPIO_SetPinPull(Key1_GPIO_Port, Key1_Pin, LL_GPIO_PULL_NO);

  /**/
  LL_GPIO_SetPinPull(Key2_GPIO_Port, Key2_Pin, LL_GPIO_PULL_NO);

  /**/
  LL_GPIO_SetPinPull(Key3_GPIO_Port, Key3_Pin, LL_GPIO_PULL_NO);

  /**/
  LL_GPIO_SetPinMode(Key0_GPIO_Port, Key0_Pin, LL_GPIO_MODE_INPUT);

  /**/
  LL_GPIO_SetPinMode(Key1_GPIO_Port, Key1_Pin, LL_GPIO_MODE_INPUT);

  /**/
  LL_GPIO_SetPinMode(Key2_GPIO_Port, Key2_Pin, LL_GPIO_MODE_INPUT);

  /**/
  LL_GPIO_SetPinMode(Key3_GPIO_Port, Key3_Pin, LL_GPIO_MODE_INPUT);

  /**/
  EXTI_InitStruct.Line_0_31 = LL_EXTI_LINE_12;
  EXTI_InitStruct.Line_32_63 = LL_EXTI_LINE_NONE;
  EXTI_InitStruct.LineCommand = ENABLE;
  EXTI_InitStruct.Mode = LL_EXTI_MODE_IT;
  EXTI_InitStruct.Trigger = LL_EXTI_TRIGGER_FALLING;
  LL_EXTI_Init(&EXTI_InitStruct);

  /**/
  EXTI_InitStruct.Line_0_31 = LL_EXTI_LINE_13;
  EXTI_InitStruct.Line_32_63 = LL_EXTI_LINE_NONE;
  EXTI_InitStruct.LineCommand = ENABLE;
  EXTI_InitStruct.Mode = LL_EXTI_MODE_IT;
  EXTI_InitStruct.Trigger = LL_EXTI_TRIGGER_FALLING;
  LL_EXTI_Init(&EXTI_InitStruct);

  /**/
  EXTI_InitStruct.Line_0_31 = LL_EXTI_LINE_14;
  EXTI_InitStruct.Line_32_63 = LL_EXTI_LINE_NONE;
  EXTI_InitStruct.LineCommand = ENABLE;
  EXTI_InitStruct.Mode = LL_EXTI_MODE_IT;
  EXTI_InitStruct.Trigger = LL_EXTI_TRIGGER_FALLING;
  LL_EXTI_Init(&EXTI_InitStruct);

  /**/
  EXTI_InitStruct.Line_0_31 = LL_EXTI_LINE_15;
  EXTI_InitStruct.Line_32_63 = LL_EXTI_LINE_NONE;
  EXTI_InitStruct.LineCommand = ENABLE;
  EXTI_InitStruct.Mode = LL_EXTI_MODE_IT;
  EXTI_InitStruct.Trigger = LL_EXTI_TRIGGER_FALLING;
  LL_EXTI_Init(&EXTI_InitStruct);

}

void Error_Handler(void)
{
  __disable_irq();
  while (1)
  {
  }
}

static uint32_t msCount;

void IncMsCount(void)
{
  msCount++;
}

uint32_t GetMsCount(void)
{
  return msCount;
}
